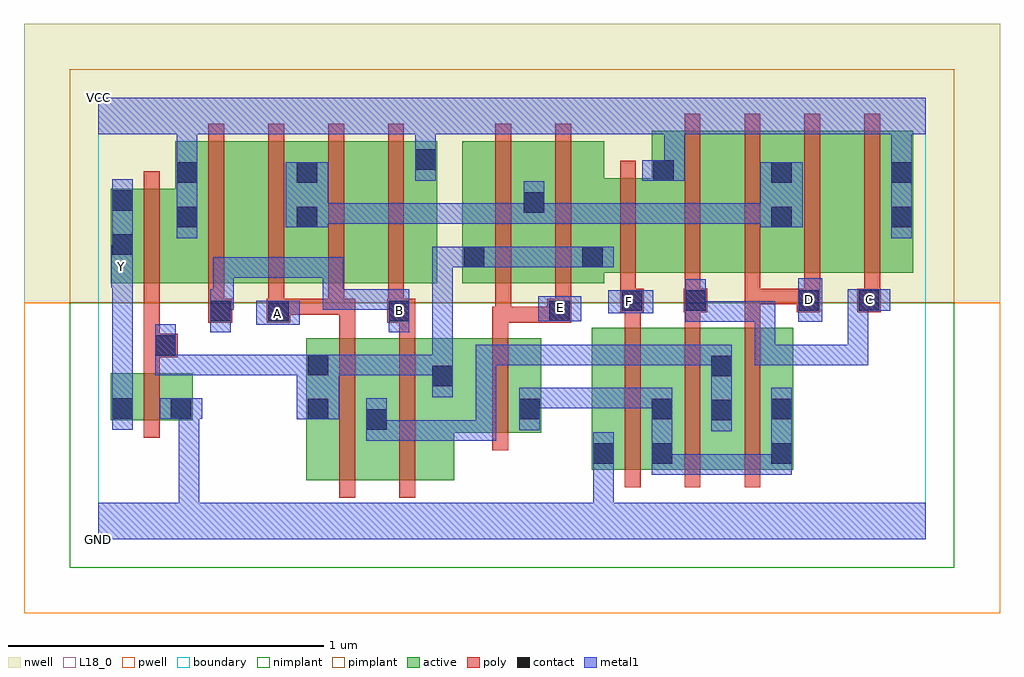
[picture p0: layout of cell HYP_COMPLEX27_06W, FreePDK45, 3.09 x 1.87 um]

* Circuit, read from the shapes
.subckt HYP_COMPLEX27_06W A B C D E F GND VCC Y
M1 GND n1 Y VSUBS nfet w=0.15u l=0.05u
M2 n2 A n1 VSUBS nfet w=0.45u l=0.05u
M3 n1 B n2 VSUBS nfet w=0.45u l=0.05u
M4 n3 E n1 VSUBS nfet w=0.3u l=0.05u
M5 n3 F GND VSUBS nfet w=0.45u l=0.05u
M6 n2 C n3 VSUBS nfet w=0.45u l=0.05u
M7 n3 D n2 VSUBS nfet w=0.45u l=0.05u
M8 VCC n1 Y n4 pfet w=0.3u l=0.05u
M9 n5 B VCC n4 pfet w=0.45u l=0.05u
M10 n6 A n5 n4 pfet w=0.45u l=0.05u
M11 n7 A n6 n4 pfet w=0.45u l=0.05u
M12 VCC B n7 n4 pfet w=0.45u l=0.05u
M13 n6 E n1 n4 pfet w=0.45u l=0.05u m=2
M14 VCC F n1 n4 pfet w=0.3u l=0.05u
M15 n8 C VCC n4 pfet w=0.45u l=0.05u
M16 n6 D n8 n4 pfet w=0.45u l=0.05u
M17 n9 D n6 n4 pfet w=0.45u l=0.05u
M18 VCC C n9 n4 pfet w=0.45u l=0.05u
.ends

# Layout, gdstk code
import gdstk
lib = gdstk.Library(unit=1e-6, precision=1e-09)
def R(c, l, rs):  # rectangles x0, y0, x1, y1
    for r in rs: c.add(gdstk.rectangle(r[:2], r[2:], *l))
def A(c, l, x, y, w, h, nx, ny, dx, dy):  # array of equal rectangles
    R(c, l, [(x+i*dx, y+j*dy, x+i*dx+w, y+j*dy+h) for i in range(nx) for j in range(ny)])
active = (1, 0)
pwell = (2, 0)
nwell = (3, 0)
nimplant = (4, 0)
pimplant = (5, 0)
poly = (9, 0)
contact = (10, 0)
metal1 = (11, 0)
L18_0 = (18, 0)
boundary = (235, 0)

hyp_complex27_06w = lib.new_cell('HYP_COMPLEX27_06W')
R(hyp_complex27_06w, active, [(0.66,0.187,0.92,0.637), (0.845,0.187,1.13,0.637), (1.565,0.22,1.825,0.67), (1.565,0.22,1.64,0.542), (1.75,0.22,2.015,0.67), (1.94,0.22,2.205,0.67), (0.66,0.232,0.735,0.637), (0.845,0.232,0.92,0.542), (1.75,0.232,1.825,0.542), (2.13,0.232,2.205,0.67), (1.94,0.245,2.015,0.587), (1.055,0.33,1.13,0.555), (1.055,0.337,1.405,0.637), (1.33,0.337,1.405,0.547), (0.04,0.377,0.115,0.527), (0.04,0.377,0.3,0.527), (0.225,0.377,0.3,0.527), (0.04,0.812,0.32,1.112), (0.04,0.812,0.115,1.112), (0.245,0.812,0.47,1.262), (0.47,0.812,0.7,1.262), (0.625,0.812,0.85,1.262), (0.625,0.812,0.7,1.2), (0.85,0.812,1.075,1.262), (1.155,0.812,1.42,1.262), (1.155,0.812,1.23,1.047), (1.345,0.812,1.605,1.262), (1.345,0.812,1.42,1.2), (1.53,0.845,1.83,1.145), (1.755,0.845,1.98,1.295), (1.98,0.845,2.205,1.295), (2.13,0.845,2.36,1.295), (2.13,0.845,2.205,1.2), (2.36,0.845,2.585,1.295), (2.51,0.845,2.585,1.295), (1,0.857,1.075,1.262), (1.53,0.857,1.605,1.07), (1.755,0.917,1.83,1.207), (0.245,0.985,0.32,1.2)])
R(hyp_complex27_06w, pwell, [(-0.235,-0.235,2.86,0.75)])
R(hyp_complex27_06w, nwell, [(-0.235,0.75,2.86,1.635)])
R(hyp_complex27_06w, nimplant, [(-0.09,-0.09,2.715,0.75)])
R(hyp_complex27_06w, pimplant, [(-0.09,0.75,2.715,1.49)])
A(hyp_complex27_06w, poly, 1.67, 0.165, 0.05, 0.56, 3, 1, 0.19, 0)
A(hyp_complex27_06w, poly, 0.35, 0.712, 0.05, 0.095, 4, 1, 0.19, 0)
A(hyp_complex27_06w, poly, 1.86, 0.745, 0.05, 0.095, 4, 1, 0.19, 0)
A(hyp_complex27_06w, poly, 0.35, 0.757, 0.05, 0.56, 4, 1, 0.19, 0)
A(hyp_complex27_06w, poly, 1.86, 0.79, 0.05, 0.56, 4, 1, 0.19, 0)
R(hyp_complex27_06w, poly, [(0.765,0.132,0.815,0.692), (0.955,0.132,1.005,0.692), (1.25,0.282,1.3,0.692), (0.145,0.322,0.195,0.582), (0.145,0.532,0.195,0.627), (0.145,0.577,0.252,0.652), (0.145,0.602,0.195,0.807), (0.765,0.642,0.815,0.762), (0.955,0.642,1.005,0.737), (1.25,0.642,1.3,0.737), (1.67,0.675,1.72,0.77), (1.86,0.675,1.91,0.77), (2.05,0.675,2.1,0.795), (0.35,0.687,0.425,0.762), (0.535,0.687,0.61,0.762), (0.917,0.687,1.005,0.762), (1.25,0.687,1.31,0.737), (1.26,0.687,1.475,0.737), (1.26,0.687,1.31,0.807), (1.425,0.687,1.5,0.762), (1.425,0.687,1.475,0.737), (1.425,0.687,1.475,0.737), (0.56,0.712,0.78,0.762), (0.73,0.712,0.78,0.762), (0.73,0.712,0.78,0.762), (0.73,0.712,0.815,0.762), (1.45,0.712,1.5,0.807), (1.655,0.72,1.73,0.795), (1.857,0.72,1.932,0.795), (2.215,0.72,2.29,0.795), (2.407,0.72,2.482,0.795), (1.655,0.745,1.705,0.84), (2.05,0.745,2.265,0.795), (2.05,0.745,2.1,0.795), (2.05,0.745,2.1,0.795), (2.05,0.745,2.1,0.795), (0.145,0.757,0.195,1.167), (1.26,0.757,1.31,1.317), (1.45,0.757,1.5,1.317), (1.655,0.79,1.705,1.2)])
R(hyp_complex27_06w, contact, [(1.57,0.24,1.635,0.305), (1.755,0.24,1.82,0.305), (2.135,0.24,2.2,0.305), (0.85,0.347,0.915,0.412), (1.945,0.377,2.01,0.442), (0.665,0.38,0.73,0.445), (1.335,0.38,1.4,0.445), (1.755,0.38,1.82,0.445), (2.135,0.38,2.2,0.445), (0.045,0.382,0.11,0.447), (0.23,0.382,0.295,0.447), (1.06,0.485,1.125,0.55), (1.945,0.517,2.01,0.582), (0.665,0.52,0.73,0.585), (0.182,0.582,0.247,0.647), (0.355,0.692,0.42,0.757), (0.54,0.692,0.605,0.757), (0.922,0.692,0.987,0.757), (1.43,0.692,1.495,0.757), (1.66,0.725,1.725,0.79), (1.862,0.725,1.927,0.79), (2.22,0.725,2.285,0.79), (2.412,0.725,2.477,0.79), (1.16,0.862,1.225,0.927), (1.535,0.862,1.6,0.927), (0.045,0.902,0.11,0.967), (0.25,0.99,0.315,1.055), (0.63,0.99,0.695,1.055), (2.135,0.99,2.2,1.055), (2.515,0.99,2.58,1.055), (1.35,1.035,1.415,1.1), (0.045,1.042,0.11,1.107), (0.25,1.13,0.315,1.195), (0.63,1.13,0.695,1.195), (2.135,1.13,2.2,1.195), (2.515,1.13,2.58,1.195), (1.76,1.137,1.825,1.202), (1.005,1.172,1.07,1.237)])
R(hyp_complex27_06w, metal1, [(0,0,2.625,0.115), (0.255,0.05,0.32,0.115), (0.255,0.05,0.32,0.115), (0.255,0.05,0.32,0.447), (1.57,0.05,1.635,0.27), (1.57,0.205,1.635,0.27), (1.57,0.205,1.635,0.27), (1.57,0.205,1.635,0.34), (1.755,0.205,1.82,0.48), (1.755,0.205,2.01,0.27), (1.945,0.205,2.01,0.27), (1.945,0.205,2.01,0.27), (1.945,0.205,2.01,0.27), (1.945,0.205,2.147,0.27), (2.082,0.205,2.147,0.27), (2.082,0.205,2.2,0.27), (2.135,0.205,2.2,0.48), (0.85,0.312,1.052,0.377), (0.85,0.312,0.915,0.447), (0.987,0.312,1.052,0.377), (0.987,0.312,1.052,0.377), (0.987,0.312,1.052,0.377), (0.987,0.312,1.262,0.377), (1.197,0.312,1.262,0.377), (1.197,0.312,1.262,0.617), (1.945,0.342,2.01,0.617), (1.335,0.345,1.4,0.48), (0.045,0.347,0.11,0.482), (0.63,0.38,0.765,0.585), (0.195,0.382,0.33,0.447), (0.255,0.382,0.32,0.447), (0.255,0.382,0.32,0.447), (0.255,0.382,0.32,0.447), (0.255,0.382,0.32,0.447), (1.335,0.415,1.4,0.48), (1.335,0.415,1.4,0.48), (1.335,0.415,1.565,0.48), (1.5,0.415,1.565,0.48), (1.5,0.415,1.652,0.48), (1.587,0.415,1.652,0.48), (1.587,0.415,1.82,0.48), (0.045,0.417,0.11,0.862), (1.06,0.45,1.125,0.585), (0.182,0.52,0.247,0.585), (0.182,0.52,0.43,0.585), (0.182,0.52,0.247,0.612), (0.365,0.52,0.43,0.585), (0.365,0.52,0.43,0.585), (0.365,0.52,0.43,0.585), (0.365,0.52,0.695,0.585), (0.63,0.52,0.695,0.585), (0.63,0.52,0.695,0.585), (0.7,0.52,0.85,0.585), (0.785,0.52,0.85,0.585), (0.785,0.52,0.915,0.585), (0.85,0.52,0.915,0.585), (0.85,0.52,1.052,0.585), (0.987,0.52,1.052,0.585), (0.987,0.52,1.125,0.585), (1.06,0.52,1.125,0.927), (0.182,0.547,0.247,0.612), (0.182,0.547,0.247,0.612), (0.182,0.547,0.247,0.682), (1.197,0.552,1.262,0.617), (1.197,0.552,1.262,0.617), (1.197,0.552,1.262,0.617), (1.197,0.552,1.427,0.617), (1.362,0.552,1.427,0.617), (1.362,0.552,1.427,0.617), (1.362,0.552,1.427,0.617), (1.362,0.552,1.652,0.617), (1.587,0.552,1.652,0.617), (1.587,0.552,1.79,0.617), (1.725,0.552,1.79,0.617), (1.725,0.552,1.79,0.617), (1.725,0.552,1.79,0.617), (1.725,0.552,2.01,0.617), (1.945,0.552,2.01,0.617), (1.945,0.552,2.01,0.617), (2.082,0.552,2.147,0.617), (2.082,0.552,2.305,0.617), (2.082,0.552,2.147,0.755), (2.24,0.552,2.305,0.617), (2.24,0.552,2.442,0.617), (2.377,0.552,2.442,0.617), (2.377,0.552,2.442,0.79), (0.355,0.657,0.42,0.792), (0.922,0.657,0.987,0.792), (0.502,0.68,0.64,0.757), (1.862,0.69,2.01,0.755), (1.862,0.69,1.927,0.825), (1.945,0.69,2.01,0.755), (1.945,0.69,2.147,0.755), (2.082,0.69,2.147,0.755), (2.082,0.69,2.147,0.755), (2.082,0.69,2.147,0.755), (2.22,0.69,2.297,0.827), (1.395,0.692,1.532,0.77), (1.617,0.717,1.76,0.79), (2.377,0.725,2.442,0.79), (2.377,0.725,2.442,0.79), (2.377,0.725,2.512,0.792), (0.355,0.727,0.43,0.792), (0.365,0.727,0.43,0.792), (0.365,0.727,0.43,0.895), (0.712,0.727,0.777,0.792), (0.712,0.727,0.832,0.792), (0.712,0.727,0.777,0.895), (0.767,0.727,0.832,0.792), (0.767,0.727,0.915,0.792), (0.85,0.727,0.915,0.792), (0.85,0.727,0.987,0.792), (0.042,0.797,0.11,0.932), (0.365,0.83,0.43,0.895), (0.365,0.83,0.567,0.895), (0.502,0.83,0.567,0.895), (0.502,0.83,0.777,0.895), (0.712,0.83,0.777,0.895), (1.06,0.862,1.125,0.927), (1.06,0.862,1.19,0.927), (1.125,0.862,1.19,0.927), (1.125,0.862,1.19,0.927), (1.125,0.862,1.26,0.927), (1.195,0.862,1.262,0.927), (1.197,0.862,1.262,0.927), (1.197,0.862,1.427,0.927), (1.362,0.862,1.427,0.927), (1.362,0.862,1.427,0.927), (1.362,0.862,1.427,0.927), (1.362,0.862,1.565,0.927), (1.5,0.862,1.635,0.927), (0.045,0.867,0.11,1.142), (0.045,0.867,0.11,0.932), (0.25,0.955,0.315,1.23), (2.515,0.955,2.58,1.23), (0.595,0.99,0.73,1.195), (2.1,0.99,2.235,1.195), (0.665,1,0.832,1.065), (0.767,1,0.832,1.065), (0.767,1,0.915,1.065), (0.85,1,0.915,1.065), (0.85,1,1.052,1.065), (0.987,1,1.052,1.065), (0.987,1,1.052,1.065), (0.987,1,1.052,1.065), (0.987,1,1.262,1.065), (1.197,1,1.262,1.065), (1.197,1,1.262,1.065), (1.197,1,1.262,1.065), (1.197,1,1.415,1.065), (1.35,1,1.415,1.065), (1.35,1,1.415,1.065), (1.35,1,1.415,1.135), (1.35,1,1.652,1.065), (1.587,1,1.652,1.065), (1.587,1,1.652,1.065), (1.587,1,1.652,1.065), (1.587,1,1.872,1.065), (1.807,1,1.872,1.065), (1.807,1,1.872,1.065), (1.807,1,1.872,1.065), (1.807,1,2.01,1.065), (1.945,1,2.01,1.065), (1.945,1,2.01,1.065), (1.945,1,2.01,1.065), (1.945,1,2.147,1.065), (2.082,1,2.147,1.065), (2.082,1,2.165,1.065), (1.005,1.137,1.07,1.272), (1.725,1.137,1.86,1.202), (1.795,1.137,1.86,1.35), (0.25,1.165,0.315,1.35), (2.515,1.165,2.58,1.35), (1.005,1.207,1.07,1.35), (0,1.285,2.625,1.4)])
R(hyp_complex27_06w, L18_0, [(0,0,2.625,0.115), (0.255,0.05,0.32,0.115), (0.255,0.05,0.32,0.115), (0.255,0.05,0.32,0.447), (1.57,0.05,1.635,0.27), (1.57,0.205,1.635,0.34), (1.57,0.205,1.635,0.27), (1.57,0.205,1.635,0.27), (0.045,0.347,0.11,0.482), (0.195,0.382,0.33,0.447), (0.255,0.382,0.32,0.447), (0.255,0.382,0.32,0.447), (0.255,0.382,0.32,0.447), (0.255,0.382,0.32,0.447), (0.045,0.417,0.11,0.862), (2.082,0.552,2.147,0.617), (2.082,0.552,2.147,0.755), (2.082,0.552,2.305,0.617), (2.24,0.552,2.305,0.617), (2.24,0.552,2.442,0.617), (2.377,0.552,2.442,0.617), (2.377,0.552,2.442,0.79), (0.355,0.657,0.42,0.792), (0.922,0.657,0.987,0.792), (0.502,0.68,0.64,0.757), (0.537,0.682,0.602,0.747), (1.862,0.69,1.927,0.825), (1.862,0.69,2.01,0.755), (1.945,0.69,2.01,0.755), (1.945,0.69,2.147,0.755), (2.082,0.69,2.147,0.755), (2.082,0.69,2.147,0.755), (2.082,0.69,2.147,0.755), (2.22,0.69,2.297,0.827), (0.922,0.692,0.987,0.757), (1.395,0.692,1.532,0.77), (1.432,0.702,1.497,0.767), (1.617,0.717,1.76,0.79), (1.652,0.722,1.717,0.787), (2.377,0.725,2.442,0.79), (2.377,0.725,2.442,0.79), (2.377,0.725,2.512,0.792), (0.355,0.727,0.43,0.792), (0.365,0.727,0.43,0.792), (0.365,0.727,0.43,0.895), (0.712,0.727,0.777,0.792), (0.712,0.727,0.777,0.895), (0.712,0.727,0.832,0.792), (0.767,0.727,0.832,0.792), (0.767,0.727,0.915,0.792), (0.85,0.727,0.915,0.792), (0.85,0.727,0.987,0.792), (2.222,0.727,2.287,0.792), (2.412,0.727,2.477,0.792), (0.042,0.797,0.11,0.932), (0.365,0.83,0.43,0.895), (0.365,0.83,0.567,0.895), (0.502,0.83,0.567,0.895), (0.502,0.83,0.777,0.895), (0.712,0.83,0.777,0.895), (0.042,0.832,0.107,0.897), (0.045,0.867,0.11,1.142), (0.045,0.867,0.11,0.932), (0.25,0.955,0.315,1.23), (2.515,0.955,2.58,1.23), (1.005,1.137,1.07,1.272), (1.725,1.137,1.86,1.202), (1.795,1.137,1.86,1.35), (0.25,1.165,0.315,1.35), (2.515,1.165,2.58,1.35), (1.005,1.207,1.07,1.35), (0,1.285,2.625,1.4)])
R(hyp_complex27_06w, boundary, [(0,0,2.625,1.4)])
hyp_complex27_06w.add(gdstk.Label('A', (0.57,0.715), layer=11, texttype=0))
hyp_complex27_06w.add(gdstk.Label('B', (0.955,0.725), layer=11, texttype=0))
hyp_complex27_06w.add(gdstk.Label('C', (2.445,0.76), layer=11, texttype=0))
hyp_complex27_06w.add(gdstk.Label('D', (2.255,0.76), layer=11, texttype=0))
hyp_complex27_06w.add(gdstk.Label('E', (1.465,0.735), layer=11, texttype=0))
hyp_complex27_06w.add(gdstk.Label('F', (1.685,0.755), layer=11, texttype=0))
hyp_complex27_06w.add(gdstk.Label('Y', (0.075,0.865), layer=11, texttype=0))
hyp_complex27_06w.add(gdstk.Label('VCC', (0,1.4), layer=11, texttype=0))
hyp_complex27_06w.add(gdstk.Label('GND', (0,0), layer=11, texttype=0))

lib.write_gds('HYP_COMPLEX27_06W.gds')
